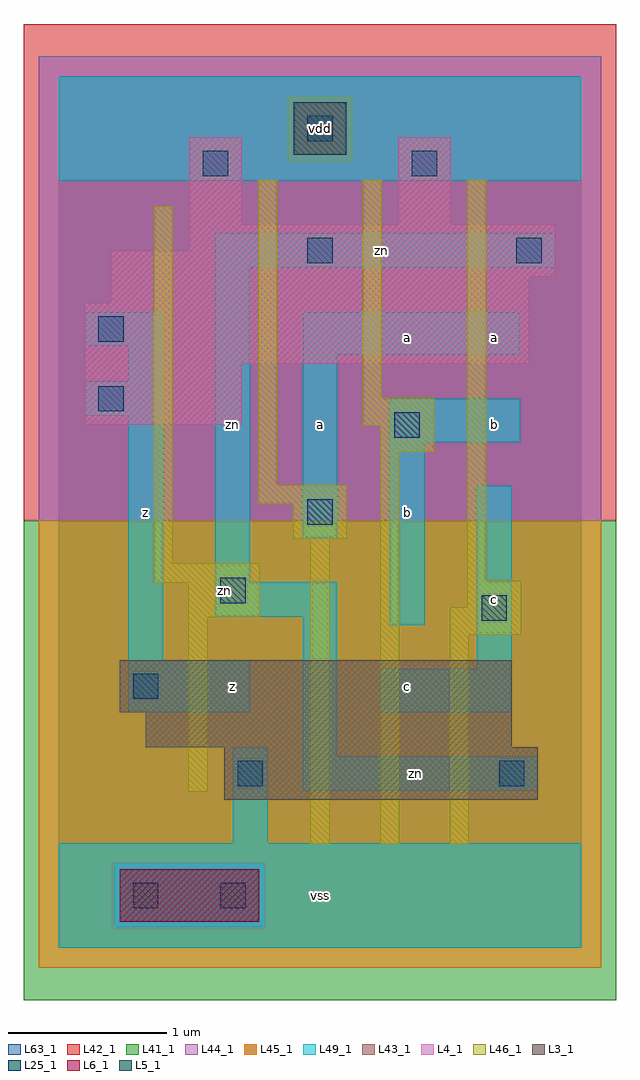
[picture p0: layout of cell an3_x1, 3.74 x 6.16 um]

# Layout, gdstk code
import gdstk
lib = gdstk.Library(unit=1e-6, precision=1e-09)
def R(c, l, rs):  # rectangles x0, y0, x1, y1
    for r in rs: c.add(gdstk.rectangle(r[:2], r[2:], *l))
L3_1 = (3, 1)
L4_1 = (4, 1)
L5_1 = (5, 1)
L6_1 = (6, 1)
L25_1 = (25, 1)
L41_1 = (41, 1)
L42_1 = (42, 1)
L43_1 = (43, 1)
L44_1 = (44, 1)
L45_1 = (45, 1)
L46_1 = (46, 1)
L49_1 = (49, 1)
L63_1 = (63, 1)

an3_x1 = lib.new_cell('an3_x1')
R(an3_x1, L3_1, [(1.045,0.935,3.025,1.265), (0.55,1.265,2.86,1.485), (0.385,1.485,2.86,1.815)])
R(an3_x1, L4_1, [(0.165,3.3,1.155,3.685), (0.165,3.685,2.97,4.07), (0.33,4.07,2.97,4.235), (0.33,4.235,3.135,4.4), (0.825,4.4,3.135,4.565), (0.825,4.565,1.155,5.115), (2.145,4.565,2.475,5.115)])
R(an3_x1, L5_1, [(1.485,5.005,1.815,5.335)])
R(an3_x1, L6_1, [(0.385,0.165,1.265,0.495)])
R(an3_x1, L25_1, [(0.47,0.25,0.63,0.41), (1.02,0.25,1.18,0.41), (1.13,1.02,1.29,1.18), (2.78,1.02,2.94,1.18), (0.47,1.57,0.63,1.73), (2.67,2.065,2.83,2.225), (1.02,2.175,1.18,2.335), (1.57,2.67,1.73,2.83), (2.12,3.22,2.28,3.38), (0.25,3.385,0.41,3.545), (0.25,3.825,0.41,3.985), (1.57,4.32,1.73,4.48), (2.89,4.32,3.05,4.48), (0.91,4.87,1.07,5.03), (2.23,4.87,2.39,5.03), (1.57,5.09,1.73,5.25)])
R(an3_x1, L41_1, [(-0.22,-0.33,3.52,2.695)])
R(an3_x1, L42_1, [(-0.22,2.695,3.52,5.83)])
R(an3_x1, L43_1, [(0.385,0.165,1.265,0.495), (1.045,0.935,3.025,1.265), (0.55,1.265,2.86,1.485), (0.385,1.485,2.86,1.815), (0.165,3.3,1.155,3.685), (0.165,3.685,2.97,4.07), (0.33,4.07,2.97,4.235), (0.33,4.235,3.135,4.4), (0.825,4.4,3.135,4.565), (0.825,4.565,1.155,5.115), (2.145,4.565,2.475,5.115), (1.485,5.005,1.815,5.335)])
R(an3_x1, L44_1, [(0.345,0.125,1.305,0.535), (-0.125,2.695,3.425,4.965), (-0.125,4.965,1.445,5.375), (1.855,4.965,3.425,5.375), (-0.125,5.375,3.425,5.625)])
R(an3_x1, L45_1, [(-0.125,-0.125,3.425,0.125), (-0.125,0.125,0.345,0.535), (1.305,0.125,3.425,0.535), (-0.125,0.535,3.425,2.695), (1.445,4.965,1.855,5.375)])
R(an3_x1, L46_1, [(1.59,0.655,1.71,2.58), (2.03,0.655,2.15,3.13), (2.47,0.655,2.59,1.975), (0.82,0.985,0.94,2.085), (2.47,1.975,2.92,2.15), (0.82,2.085,1.27,2.305), (2.58,2.15,2.92,2.315), (0.6,2.305,1.27,2.425), (2.58,2.315,2.7,4.845), (0.6,2.425,0.72,4.68), (1.48,2.58,1.82,2.8), (1.26,2.8,1.82,2.92), (1.26,2.92,1.38,4.845), (2.03,3.13,2.37,3.295), (1.92,3.295,2.37,3.47), (1.92,3.47,2.04,4.845)])
R(an3_x1, L49_1, [(0,0,3.3,0.66), (1.1,0.66,1.32,1.265), (1.54,0.99,3.025,1.21), (1.54,1.21,1.76,2.09), (0.44,1.485,1.21,1.815), (2.035,1.485,2.86,1.76), (2.64,1.76,2.86,2.915), (0.44,1.815,0.66,3.355), (2.09,2.035,2.31,3.19), (0.99,2.09,1.76,2.31), (0.99,2.31,1.21,4.29), (1.54,2.585,1.76,3.74), (2.09,3.19,2.915,3.465), (0.165,3.355,0.66,3.575), (0.44,3.575,0.66,3.795), (1.54,3.74,2.915,4.015), (0.165,3.795,0.66,4.015), (0.99,4.29,3.135,4.51), (0,4.84,3.3,5.5)])
R(an3_x1, L63_1, [(0,0,3.3,5.5)])
an3_x1.add(gdstk.Label('zn', (1.045,2.255), layer=49, texttype=1))
an3_x1.add(gdstk.Label('z', (0.55,2.75), layer=49, texttype=1))
an3_x1.add(gdstk.Label('z', (0.55,2.75), layer=49, texttype=1))
an3_x1.add(gdstk.Label('z', (1.1,1.65), layer=49, texttype=1))
an3_x1.add(gdstk.Label('z', (1.1,1.65), layer=49, texttype=1))
an3_x1.add(gdstk.Label('zn', (1.1,3.3), layer=49, texttype=1))
an3_x1.add(gdstk.Label('vss', (1.65,0.33), layer=49, texttype=1))
an3_x1.add(gdstk.Label('vss', (1.65,0.33), layer=49, texttype=1))
an3_x1.add(gdstk.Label('c', (2.2,1.65), layer=49, texttype=1))
an3_x1.add(gdstk.Label('c', (2.2,1.65), layer=49, texttype=1))
an3_x1.add(gdstk.Label('b', (2.2,2.75), layer=49, texttype=1))
an3_x1.add(gdstk.Label('b', (2.2,2.75), layer=49, texttype=1))
an3_x1.add(gdstk.Label('a', (1.65,3.3), layer=49, texttype=1))
an3_x1.add(gdstk.Label('a', (1.65,3.3), layer=49, texttype=1))
an3_x1.add(gdstk.Label('a', (2.2,3.85), layer=49, texttype=1))
an3_x1.add(gdstk.Label('a', (2.2,3.85), layer=49, texttype=1))
an3_x1.add(gdstk.Label('vdd', (1.65,5.17), layer=49, texttype=1))
an3_x1.add(gdstk.Label('vdd', (1.65,5.17), layer=49, texttype=1))
an3_x1.add(gdstk.Label('zn', (2.255,1.1), layer=49, texttype=1))
an3_x1.add(gdstk.Label('c', (2.75,2.2), layer=49, texttype=1))
an3_x1.add(gdstk.Label('c', (2.75,2.2), layer=49, texttype=1))
an3_x1.add(gdstk.Label('b', (2.75,3.3), layer=49, texttype=1))
an3_x1.add(gdstk.Label('a', (2.75,3.85), layer=49, texttype=1))
an3_x1.add(gdstk.Label('b', (2.75,3.3), layer=49, texttype=1))
an3_x1.add(gdstk.Label('a', (2.75,3.85), layer=49, texttype=1))
an3_x1.add(gdstk.Label('zn', (2.035,4.4), layer=49, texttype=1))

lib.write_gds('an3_x1.gds')
